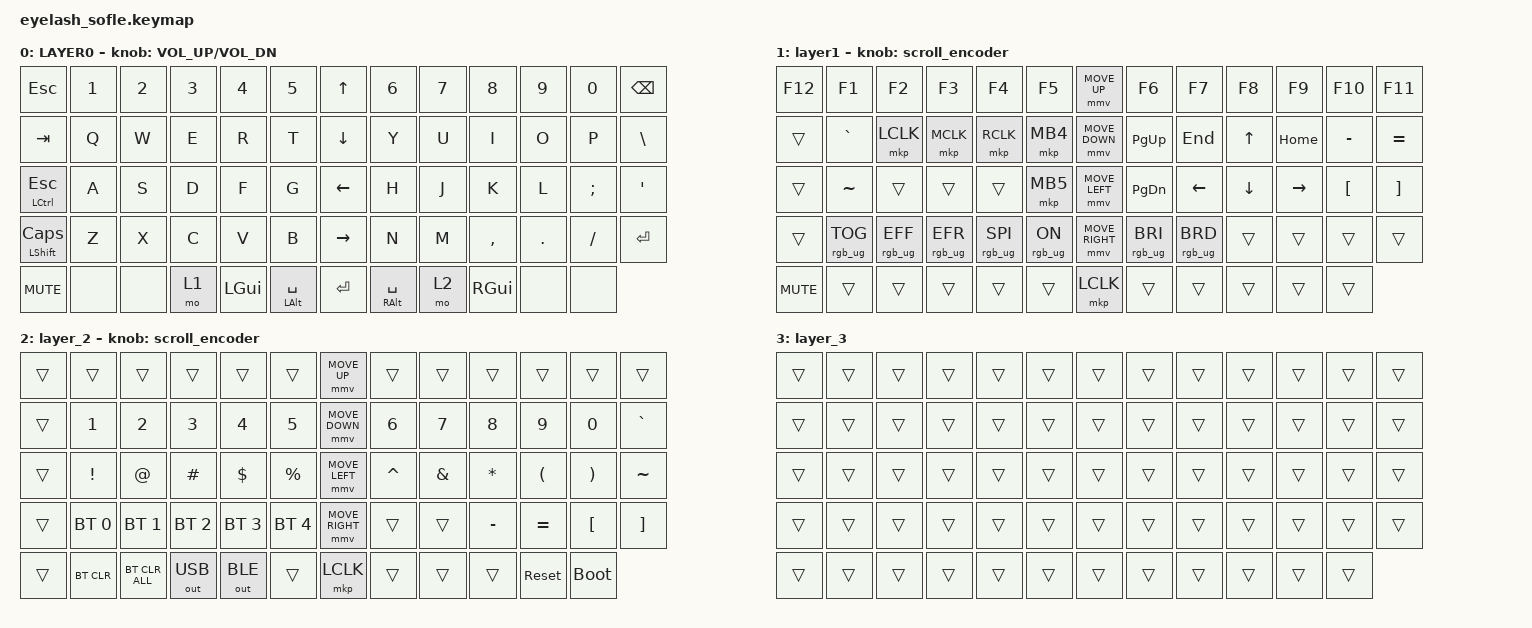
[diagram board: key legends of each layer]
#define ZMK_POINTING_DEFAULT_MOVE_VAL 1200  // 600
#define ZMK_POINTING_DEFAULT_SCRL_VAL 25   // 10

#include <input/processors.dtsi>
#include <zephyr/dt-bindings/input/input-event-codes.h>
#include <behaviors.dtsi>
#include <dt-bindings/zmk/bt.h>
#include <dt-bindings/zmk/keys.h>
#include <dt-bindings/zmk/outputs.h>
#include <dt-bindings/zmk/pointing.h>
#include <dt-bindings/zmk/rgb.h>

&mmv_input_listener { input-processors = <&zip_xy_scaler 2 1>; };

&msc_input_listener { input-processors = <&zip_scroll_scaler 2 1>; };

&msc {
    acceleration-exponent = <1>;      // 0
    time-to-max-speed-ms = <100>;       // 300
    delay-ms = <0>;                   // 0
};

&mmv {
    time-to-max-speed-ms = <500>;
    acceleration-exponent = <1>;
    trigger-period-ms = <16>;
};

&soft_off { hold-time-ms = <2000>; };

/ {
    scroll_encoder: scroll_encoder {
        compatible = "zmk,behavior-sensor-rotate";
        #sensor-binding-cells = <0>;
        bindings = <&msc SCRL_DOWN>, <&msc SCRL_UP>;

        tap-ms = <100>;
    };

    behaviors {
    };

    combos {
        compatible = "zmk,combos";

        softoff {
            bindings = <&soft_off>;
            key-positions = <14 28 40>;
        };
        combo_esc {
            timeout-ms = <50>;
            bindings = <&kp ESC>;
            key-positions = <14 15>;   // Q + W
        };

        combo_bspc {
            timeout-ms = <50>;
            bindings = <&kp BACKSPACE>;
            key-positions = <23 24>;   // O + P
        };

        combo_enter {
            timeout-ms = <50>;
            bindings = <&kp ENTER>;
            key-positions = <36 37>;   // L + ;
        };

        combo_tab {
            timeout-ms = <50>;
            bindings = <&kp TAB>;
            key-positions = <27 28>;   // A + S
        };
    };

    keymap {
        compatible = "zmk,keymap";

        layer0 {
            bindings = <
&kp ESC          &kp N1     &kp N2      &kp N3     &kp N4     &kp N5           &kp UP_ARROW     &kp N6     &kp N7     &kp N8     &kp N9           &kp N0      &kp BACKSPACE
&kp TAB          &kp Q      &kp W       &kp E      &kp R      &kp T            &kp DOWN_ARROW   &kp Y      &kp U      &kp I      &kp O            &kp P       &kp BSLH
&mt LCTRL ESC    &kp A      &kp S       &kp D      &kp F      &kp G            &kp LEFT_ARROW   &kp H      &kp J      &kp K      &kp L            &kp SEMI    &kp APOS
&mt LSHFT CAPS   &kp Z      &kp X       &kp C      &kp V      &kp B            &kp RIGHT_ARROW  &kp N      &kp M      &kp COMMA  &kp DOT          &kp FSLH    &kp ENTER
&kp C_MUTE       &none      &none       &mo 1      &kp LGUI   &mt LALT SPACE   &kp ENTER        &mt RALT SPACE  &mo 2  &kp RGUI  &none            &none
            >;

            sensor-bindings = <&inc_dec_kp C_VOLUME_UP C_VOL_DN>;
            display-name = "LAYER0";
        };

        layer_1 {
            bindings = <
&kp F12     &kp F1     &kp F2      &kp F3       &kp F4       &kp F5       &mmv MOVE_UP     &kp F6      &kp F7        &kp F8      &kp F9        &kp F10           &kp F11
&trans      &kp GRAVE  &mkp LCLK   &mkp MCLK    &mkp RCLK    &mkp MB4     &mmv MOVE_DOWN   &kp PG_UP   &kp END       &kp UP      &kp HOME      &kp MINUS         &kp EQUAL
&trans      &kp TILDE  &trans      &trans       &trans       &mkp MB5     &mmv MOVE_LEFT   &kp PG_DN   &kp LEFT      &kp DOWN    &kp RIGHT     &kp LBKT          &kp RBKT
&trans  &rgb_ug RGB_TOG  &rgb_ug RGB_EFF  &rgb_ug RGB_EFR  &rgb_ug RGB_SPI  &rgb_ug RGB_ON  &mmv MOVE_RIGHT  &rgb_ug RGB_BRI  &rgb_ug RGB_BRD  &trans  &trans    &trans           &trans
&kp C_MUTE  &trans     &trans      &trans       &trans       &trans       &mkp LCLK        &trans      &trans        &trans      &trans        &trans           
            >;

            display-name = "layer1";
            sensor-bindings = <&scroll_encoder>;
        };

        layer_2 {
            bindings = <
&trans     &trans        &trans          &trans        &trans        &trans          &mmv MOVE_UP     &trans     &trans    &trans        &trans       &trans       &trans
&trans     &kp N1        &kp N2          &kp N3        &kp N4        &kp N5          &mmv MOVE_DOWN   &kp N6     &kp N7    &kp N8        &kp N9       &kp N0       &kp GRAVE
&trans     &kp EXCL      &kp AT          &kp HASH      &kp DLLR      &kp PRCNT       &mmv MOVE_LEFT   &kp CARET  &kp AMPS  &kp STAR      &kp LPAR     &kp RPAR     &kp TILDE
&trans     &bt BT_SEL 0  &bt BT_SEL 1    &bt BT_SEL 2  &bt BT_SEL 3  &bt BT_SEL 4    &mmv MOVE_RIGHT  &trans     &trans    &kp MINUS     &kp EQUAL    &kp LBKT     &kp RBKT
&trans     &bt BT_CLR    &bt BT_CLR_ALL  &out OUT_USB  &out OUT_BLE  &trans          &mkp LCLK        &trans     &trans    &trans        &sys_reset       &bootloader   
            >;

            sensor-bindings = <&scroll_encoder>;
        };

        layer_3 {
            bindings = <
&trans  &trans  &trans  &trans  &trans  &trans    &trans  &trans  &trans  &trans  &trans  &trans  &trans
&trans  &trans  &trans  &trans  &trans  &trans    &trans  &trans  &trans  &trans  &trans  &trans  &trans
&trans  &trans  &trans  &trans  &trans  &trans    &trans  &trans  &trans  &trans  &trans  &trans  &trans
&trans  &trans  &trans  &trans  &trans  &trans    &trans  &trans  &trans  &trans  &trans  &trans  &trans
&trans  &trans  &trans  &trans  &trans  &trans    &trans  &trans  &trans  &trans  &trans  &trans
            >;
        };
    };
};
